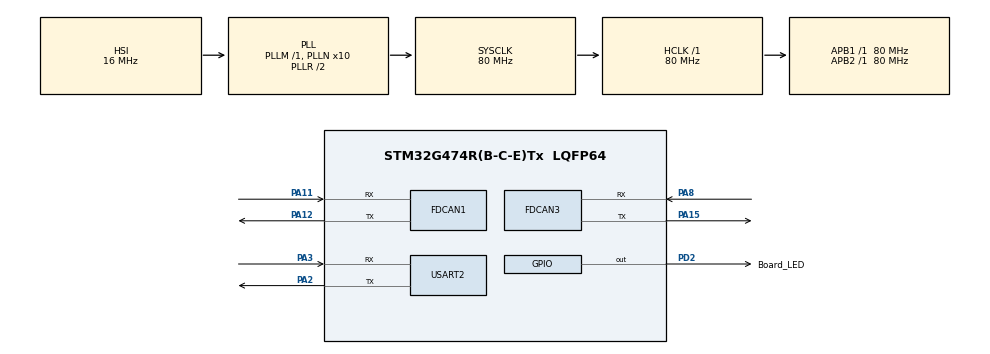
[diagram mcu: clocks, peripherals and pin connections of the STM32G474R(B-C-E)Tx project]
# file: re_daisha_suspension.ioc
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FDCAN1.CalculateBaudRateNominal=1000000
FDCAN1.CalculateTimeBitNominal=1000
FDCAN1.CalculateTimeQuantumNominal=50.0
FDCAN1.DataPrescaler=2
FDCAN1.DataTimeSeg1=15
FDCAN1.DataTimeSeg2=4
FDCAN1.FrameFormat=FDCAN_FRAME_FD_BRS
FDCAN1.NominalPrescaler=4
FDCAN1.NominalTimeSeg1=15
FDCAN1.NominalTimeSeg2=4
FDCAN1.StdFiltersNbr=1
FDCAN3.CalculateBaudRateNominal=1000000
FDCAN3.CalculateTimeBitNominal=1000
FDCAN3.CalculateTimeQuantumNominal=50.0
FDCAN3.DataPrescaler=2
FDCAN3.DataTimeSeg1=15
FDCAN3.DataTimeSeg2=4
FDCAN3.FrameFormat=FDCAN_FRAME_FD_BRS
FDCAN3.NominalPrescaler=4
FDCAN3.NominalTimeSeg1=15
FDCAN3.NominalTimeSeg2=4
FDCAN3.StdFiltersNbr=1
Mcu.Family=STM32G4
Mcu.Name=STM32G474R(B-C-E)Tx
Mcu.Package=LQFP64
NVIC.FDCAN1_IT0_IRQn=true\:0\:0\:false\:false\:true\:true\:true\:true
NVIC.FDCAN1_IT1_IRQn=true\:0\:0\:false\:false\:true\:true\:true\:true
NVIC.FDCAN3_IT0_IRQn=true\:0\:0\:false\:false\:true\:true\:true\:true
NVIC.FDCAN3_IT1_IRQn=true\:0\:0\:false\:false\:true\:true\:true\:true
NVIC.PriorityGroup=NVIC_PRIORITYGROUP_4
NVIC.TIM1_TRG_COM_TIM17_IRQn=true\:0\:0\:false\:false\:true\:true\:true\:true
NVIC.TIM1_UP_TIM16_IRQn=true\:0\:0\:false\:false\:true\:true\:true\:true
NVIC.TIM6_DAC_IRQn=true\:2\:0\:true\:false\:true\:true\:true\:true
NVIC.TIM7_DAC_IRQn=true\:1\:0\:true\:false\:true\:true\:true\:true
NVIC.USART2_IRQn=true\:15\:0\:true\:false\:true\:true\:true\:true
PA11.Mode=FDCAN_Activate
PA11.Signal=FDCAN1_RX
PA12.Mode=FDCAN_Activate
PA12.Signal=FDCAN1_TX
PA15.Mode=FDCAN_Activate
PA15.Signal=FDCAN3_TX
PA2.Mode=Asynchronous
PA2.Signal=USART2_TX
PA3.Mode=Asynchronous
PA3.Signal=USART2_RX
PA8.Mode=FDCAN_Activate
PA8.Signal=FDCAN3_RX
PD2.GPIO_Label=Board_LED
PD2.Signal=GPIO_Output
ProjectManager.HeapSize=0x200
ProjectManager.StackSize=0x400
ProjectManager.TargetToolchain=STM32CubeIDE
RCC.ADC12Freq_Value=80000000
RCC.ADC345Freq_Value=80000000
RCC.AHBFreq_Value=80000000
RCC.APB1Freq_Value=80000000
RCC.APB1TimFreq_Value=80000000
RCC.APB2Freq_Value=80000000
RCC.APB2TimFreq_Value=80000000
RCC.CortexFreq_Value=80000000
RCC.EXTERNAL_CLOCK_VALUE=12288000
RCC.HCLKFreq_Value=80000000
RCC.HSE_VALUE=8000000
RCC.HSI48_VALUE=48000000
RCC.HSI_VALUE=16000000
RCC.LSE_VALUE=32768
RCC.PLLN=10
RCC.SYSCLKFreq_VALUE=80000000
RCC.SYSCLKSource=RCC_SYSCLKSOURCE_PLLCLK
RCC.USBFreq_Value=80000000
RCC.VCOOutputFreq_Value=160000000
TIM16.PeriodNoDither=7999
TIM16.Prescaler=9
TIM17.PeriodNoDither=7999
TIM17.Prescaler=9
TIM6.PeriodNoDither=7999
TIM6.Prescaler=99
TIM7.PeriodNoDither=7999
TIM7.Prescaler=9
USART2.VirtualMode-Asynchronous=VM_ASYNC
VP_SYS_VS_DBSignals.Mode=DisableDeadBatterySignals
VP_TIM16_VS_ClockSourceINT.Mode=Enable_Timer
VP_TIM17_VS_ClockSourceINT.Mode=Enable_Timer
VP_TIM6_VS_ClockSourceINT.Mode=Enable_Timer
VP_TIM7_VS_ClockSourceINT.Mode=Enable_Timer
board=custom

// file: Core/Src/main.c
/* USER CODE BEGIN Header */
/**
  ******************************************************************************
  * @file           : main.c
  * @brief          : Main program body
  ******************************************************************************
  * @attention
  *
  * Copyright (c) 2024 STMicroelectronics.
  * All rights reserved.
  *
  * This software is licensed under terms that can be found in the LICENSE file
  * in the root directory of this software component.
  * If no LICENSE file comes with this software, it is provided AS-IS.
  *
  ******************************************************************************
  */
/* USER CODE END Header */
#include "main.h"

/* USER CODE BEGIN Includes */
#include <stdio.h>
#include <string.h>
#include <math.h>
#include "t_semi_can_lib.h"
/* USER CODE END Includes */

/* USER CODE BEGIN PTD */
typedef struct{
	uint16_t CANID;
	uint8_t motorID;
	volatile float actVel;//rpm
	volatile float actangle;
	volatile float actCurrent;
	float cu;
	float trgVel;
	volatile float p_actVel;//rpm
	volatile float ind;
	float w;
}motor;
/* USER CODE END PTD */

/* USER CODE BEGIN PD */
#define TRUE 1
#define FALSE 0

#define ERROR_STATE -1
#define INITIALIZE_STATE 0
#define MOVE_STATE 1

#define STATE_CANID_P_DOWN 0x100
#define STATE_CANID_P_UP 0x101

#define ID 1

#define STATE_CANID_DOWN STATE_CANID_P_DOWN + (ID*16)
#define STATE_CANID_UP STATE_CANID_P_UP + (ID*16)
#define VEL_CANID 0x300
#define ODOMETRY_CANID_SENSOR 0x200

#define R_F 4
#define L_F 3
#define R_B 1
#define L_B 2
/* USER CODE END PD */

FDCAN_HandleTypeDef hfdcan1;
FDCAN_HandleTypeDef hfdcan3;

TIM_HandleTypeDef htim6;
TIM_HandleTypeDef htim7;
TIM_HandleTypeDef htim16;
TIM_HandleTypeDef htim17;

UART_HandleTypeDef huart2;

/* USER CODE BEGIN PV */
const float a0 = M_PI/180*45;
const float a1 = M_PI/180*135;
const float a2 = M_PI/180*225;
const float a3 = M_PI/180*315;
const float r = 0.03;//m
const float R = 0.144;//m

FDCAN_TxHeaderTypeDef TxHeader;
FDCAN_RxHeaderTypeDef RxHeader;
FDCAN_TxHeaderTypeDef TxHeader_motor;
FDCAN_RxHeaderTypeDef RxHeader_motor;

int8_t state = ERROR_STATE;
int8_t sub_state;

float32_t RxData_f32[16] = {};
uint32_t CANID_R = 0;

motor robomas[4] = {
		{0x201, 1, 0, 0, 0, 0, 0, 0, 0, 0},
		{0x202, 2, 0, 0, 0, 0, 0, 0, 0, 0},
		{0x203, 3, 0, 0, 0, 0, 0, 0, 0, 0},
		{0x204, 4, 0, 0, 0, 0, 0, 0, 0, 0},
};

float theta = 0;
float vx = 0, vy = 0, omega = 0;

volatile float theta_r = 0;
volatile float vx_r = 0, vy_r = 0, omega_r = 0;
/* USER CODE END PV */

void SystemClock_Config(void);
static void MX_GPIO_Init(void);
static void MX_FDCAN1_Init(void);
static void MX_USART2_UART_Init(void);
static void MX_TIM6_Init(void);
static void MX_TIM7_Init(void);
static void MX_TIM16_Init(void);
static void MX_FDCAN3_Init(void);
static void MX_TIM17_Init(void);
/* USER CODE BEGIN PFP */
void CAN_SEND_printf(uint32_t, uint8_t*);
void CAN(uint32_t, float32_t*);
void CAN_SEND_printf_robomas(uint32_t, uint8_t*);
void CAN_robomas(motor*);
void interboard_comms_CAN_RxTxSettings_nhk2025_init(void);
void robomas_CAN_RxTxSettings_nhk2025_init(void);

void omni_calc(float theta,float vx,float vy,float omega,float *w0,float *w1,float *w2,float *w3);
float convert_rpm_radps(float rpm);
float convert_radps_rpm(float radps) ;
void omni_control(float Theta, float Vx, float Vy, float Omega, motor *Robomas);
/* USER CODE END PFP */

/* USER CODE BEGIN 0 */
void HAL_FDCAN_RxFifo0Callback(FDCAN_HandleTypeDef *hfdcan, uint32_t RxFifo0ITs){
	if ((RxFifo0ITs & FDCAN_IT_RX_FIFO0_NEW_MESSAGE) != RESET) {

	        /* Retrieve Rx messages from RX FIFO0 */
		uint8_t RxData_motor[8] = {};
		if (HAL_OK != HAL_FDCAN_GetRxMessage(&hfdcan3, FDCAN_RX_FIFO0, &RxHeader_motor, RxData_motor)) {
			printf("fdcan_getrxmessage_motor is error\r\n");
			Error_Handler();
		}
		/*receive robomas's status*/
		for (int i=0; i < 4; i++){
			if (RxHeader_motor.Identifier == (robomas[i].CANID)) {
				robomas[i].actangle = (int16_t)((RxData_motor[0] << 8) | RxData_motor[1]);
				robomas[i].actVel = (int16_t)((RxData_motor[2] << 8) | RxData_motor[3]);
				robomas[i].actCurrent = (int16_t)((RxData_motor[4] << 8) | RxData_motor[5]);
			}
		}
	}
}

void HAL_FDCAN_RxFifo1Callback(FDCAN_HandleTypeDef *hfdcan, uint32_t RxFifo1ITs){
	if (RESET != (RxFifo1ITs & FDCAN_IT_RX_FIFO1_NEW_MESSAGE)) {

	        /* Retrieve Rx messages from RX FIFO0 */
		uint8_t RxData[64] = {};
		if (HAL_OK != HAL_FDCAN_GetRxMessage(&hfdcan1, FDCAN_RX_FIFO1, &RxHeader, RxData)) {
			printf("fdcan_getrxmessage is error\r\n");
			Error_Handler();
		}

		for (int i = 0; i < 16; i++) {
			convert_u8_f32(RxData, RxData_f32);
		}
		CANID_R = RxHeader.Identifier;
	}
}

void HAL_TIM_PeriodElapsedCallback(TIM_HandleTypeDef *htim){
	if (&htim6 == htim) {
		float32_t TxData_f32[16] = {};
		TxData_f32[0] = (float32_t)state;
		TxData_f32[1] = (float32_t)sub_state;
		CAN(STATE_CANID_UP, TxData_f32);
	}
	else if (&htim7 == htim) {
		if (STATE_CANID_DOWN == CANID_R) {
			if (INITIALIZE_STATE == RxData_f32[0]) {
				state = RxData_f32[0];
			}
			else if (ERROR_STATE == RxData_f32[0]) {
				state = RxData_f32[0];
			}
			else if (VEL_CANID == CANID_R) {
				vx_r 	= RxData_f32[0];
				vy_r 	= RxData_f32[1];
				omega_r = RxData_f32[2];
			}
			else if (ODOMETRY_CANID_SENSOR == CANID_R) {
				theta_r = RxData_f32[2];
			}
		}
	}
	else if (&htim16 == htim) {
		for (int i = 0; i < 4; i++) {
			float kp = 10, kd = 0.009, ki = 0.2;
			float dt = 0.001;
			float hensa = robomas[i].trgVel - robomas[i].actVel;
			float derivative = (robomas[i].p_actVel - robomas[i].actVel)/dt;
			robomas[i].ind += hensa;
			robomas[i].cu = kp*hensa + kd*derivative + ki*robomas[i].ind;
			robomas[i].p_actVel = robomas[i].actVel;

			if (robomas[i].cu > 10000) robomas[i].cu = 10000;
			if (robomas[i].cu < -10000) robomas[i].cu = -10000;
			if (ERROR_STATE == state) robomas[i].cu = 0;
		}
		CAN_robomas(robomas);
	}
	else if (&htim17 == htim) {

	}
}

int _write(int file, char *ptr, int len)
{
    HAL_UART_Transmit(&huart2,(uint8_t *)ptr,len,10);
    return len;
}
/* USER CODE END 0 */

int main(void)
{

  /* USER CODE BEGIN 1 */
	setbuf(stdout, NULL);

  /* USER CODE END 1 */

  /* MCU Configuration--------------------------------------------------------*/

  /* Reset of all peripherals, Initializes the Flash interface and the Systick. */
  HAL_Init();

  /* Configure the system clock */
  SystemClock_Config();

  /* Initialize all configured peripherals */
  MX_GPIO_Init();
  MX_FDCAN1_Init();
  MX_USART2_UART_Init();
  MX_TIM6_Init();
  MX_TIM7_Init();
  MX_TIM16_Init();
  MX_FDCAN3_Init();
  MX_TIM17_Init();
  /* USER CODE BEGIN 2 */
  printf("start\r\n");
  //FDCAN_RxTxSettings();
  interboard_comms_CAN_RxTxSettings_nhk2025_init();
  robomas_CAN_RxTxSettings_nhk2025_init();
  printf("can start\r\n");

  HAL_TIM_Base_Start_IT(&htim6);
  HAL_TIM_Base_Start_IT(&htim7);
  HAL_TIM_Base_Start_IT(&htim16);
  HAL_TIM_Base_Start_IT(&htim17);
  /* USER CODE END 2 */

  /* Infinite loop */
  /* USER CODE BEGIN WHILE */
  while (1)
  {
	  if (ERROR_STATE == state) {
		  vx = 0;
		  vy = 0;
		  omega = 0;
	  }
	  else if (INITIALIZE_STATE == state) {
		  for (int i = 0; i < 4; i++) robomas[i].ind = 0;
		  state = MOVE_STATE;
	  }
	  else if (MOVE_STATE == state) {
		  vx 	= vx_r;
		  vy 	= vy_r;
		  omega = omega_r;
		  theta = theta_r;
		  omni_control(theta, vx, vy, omega, robomas);
	  }
	  HAL_Delay(10);
    /* USER CODE END WHILE */

  }
}

void SystemClock_Config(void)
{
  RCC_OscInitTypeDef RCC_OscInitStruct = {0};
  RCC_ClkInitTypeDef RCC_ClkInitStruct = {0};

  /** Configure the main internal regulator output voltage
  */
  HAL_PWREx_ControlVoltageScaling(PWR_REGULATOR_VOLTAGE_SCALE1);

  /** Initializes the RCC Oscillators according to the specified parameters
  * in the RCC_OscInitTypeDef structure.
  */
  RCC_OscInitStruct.OscillatorType = RCC_OSCILLATORTYPE_HSI;
  RCC_OscInitStruct.HSIState = RCC_HSI_ON;
  RCC_OscInitStruct.HSICalibrationValue = RCC_HSICALIBRATION_DEFAULT;
  RCC_OscInitStruct.PLL.PLLState = RCC_PLL_ON;
  RCC_OscInitStruct.PLL.PLLSource = RCC_PLLSOURCE_HSI;
  RCC_OscInitStruct.PLL.PLLM = RCC_PLLM_DIV1;
  RCC_OscInitStruct.PLL.PLLN = 10;
  RCC_OscInitStruct.PLL.PLLP = RCC_PLLP_DIV2;
  RCC_OscInitStruct.PLL.PLLQ = RCC_PLLQ_DIV2;
  RCC_OscInitStruct.PLL.PLLR = RCC_PLLR_DIV2;
  if (HAL_RCC_OscConfig(&RCC_OscInitStruct) != HAL_OK)
  {
    Error_Handler();
  }

  /** Initializes the CPU, AHB and APB buses clocks
  */
  RCC_ClkInitStruct.ClockType = RCC_CLOCKTYPE_HCLK|RCC_CLOCKTYPE_SYSCLK
                              |RCC_CLOCKTYPE_PCLK1|RCC_CLOCKTYPE_PCLK2;
  RCC_ClkInitStruct.SYSCLKSource = RCC_SYSCLKSOURCE_PLLCLK;
  RCC_ClkInitStruct.AHBCLKDivider = RCC_SYSCLK_DIV1;
  RCC_ClkInitStruct.APB1CLKDivider = RCC_HCLK_DIV1;
  RCC_ClkInitStruct.APB2CLKDivider = RCC_HCLK_DIV1;

  if (HAL_RCC_ClockConfig(&RCC_ClkInitStruct, FLASH_LATENCY_2) != HAL_OK)
  {
    Error_Handler();
  }
}

static void MX_FDCAN1_Init(void)
{

  hfdcan1.Instance = FDCAN1;
  hfdcan1.Init.ClockDivider = FDCAN_CLOCK_DIV1;
  hfdcan1.Init.FrameFormat = FDCAN_FRAME_FD_BRS;
  hfdcan1.Init.Mode = FDCAN_MODE_NORMAL;
  hfdcan1.Init.AutoRetransmission = DISABLE;
  hfdcan1.Init.TransmitPause = DISABLE;
  hfdcan1.Init.ProtocolException = DISABLE;
  hfdcan1.Init.NominalPrescaler = 4;
  hfdcan1.Init.NominalSyncJumpWidth = 1;
  hfdcan1.Init.NominalTimeSeg1 = 15;
  hfdcan1.Init.NominalTimeSeg2 = 4;
  hfdcan1.Init.DataPrescaler = 2;
  hfdcan1.Init.DataSyncJumpWidth = 1;
  hfdcan1.Init.DataTimeSeg1 = 15;
  hfdcan1.Init.DataTimeSeg2 = 4;
  hfdcan1.Init.StdFiltersNbr = 1;
  hfdcan1.Init.ExtFiltersNbr = 0;
  hfdcan1.Init.TxFifoQueueMode = FDCAN_TX_FIFO_OPERATION;
  if (HAL_FDCAN_Init(&hfdcan1) != HAL_OK)
  {
    Error_Handler();
  }

}

static void MX_FDCAN3_Init(void)
{

  hfdcan3.Instance = FDCAN3;
  hfdcan3.Init.ClockDivider = FDCAN_CLOCK_DIV1;
  hfdcan3.Init.FrameFormat = FDCAN_FRAME_FD_BRS;
  hfdcan3.Init.Mode = FDCAN_MODE_NORMAL;
  hfdcan3.Init.AutoRetransmission = DISABLE;
  hfdcan3.Init.TransmitPause = DISABLE;
  hfdcan3.Init.ProtocolException = DISABLE;
  hfdcan3.Init.NominalPrescaler = 4;
  hfdcan3.Init.NominalSyncJumpWidth = 1;
  hfdcan3.Init.NominalTimeSeg1 = 15;
  hfdcan3.Init.NominalTimeSeg2 = 4;
  hfdcan3.Init.DataPrescaler = 2;
  hfdcan3.Init.DataSyncJumpWidth = 1;
  hfdcan3.Init.DataTimeSeg1 = 15;
  hfdcan3.Init.DataTimeSeg2 = 4;
  hfdcan3.Init.StdFiltersNbr = 1;
  hfdcan3.Init.ExtFiltersNbr = 0;
  hfdcan3.Init.TxFifoQueueMode = FDCAN_TX_FIFO_OPERATION;
  if (HAL_FDCAN_Init(&hfdcan3) != HAL_OK)
  {
    Error_Handler();
  }

}

static void MX_TIM6_Init(void)
{

  TIM_MasterConfigTypeDef sMasterConfig = {0};

  htim6.Instance = TIM6;
  htim6.Init.Prescaler = 99;
  htim6.Init.CounterMode = TIM_COUNTERMODE_UP;
  htim6.Init.Period = 7999;
  htim6.Init.AutoReloadPreload = TIM_AUTORELOAD_PRELOAD_DISABLE;
  if (HAL_TIM_Base_Init(&htim6) != HAL_OK)
  {
    Error_Handler();
  }
  sMasterConfig.MasterOutputTrigger = TIM_TRGO_RESET;
  sMasterConfig.MasterSlaveMode = TIM_MASTERSLAVEMODE_DISABLE;
  if (HAL_TIMEx_MasterConfigSynchronization(&htim6, &sMasterConfig) != HAL_OK)
  {
    Error_Handler();
  }

}

static void MX_TIM7_Init(void)
{

  TIM_MasterConfigTypeDef sMasterConfig = {0};

  htim7.Instance = TIM7;
  htim7.Init.Prescaler = 9;
  htim7.Init.CounterMode = TIM_COUNTERMODE_UP;
  htim7.Init.Period = 7999;
  htim7.Init.AutoReloadPreload = TIM_AUTORELOAD_PRELOAD_DISABLE;
  if (HAL_TIM_Base_Init(&htim7) != HAL_OK)
  {
    Error_Handler();
  }
  sMasterConfig.MasterOutputTrigger = TIM_TRGO_RESET;
  sMasterConfig.MasterSlaveMode = TIM_MASTERSLAVEMODE_DISABLE;
  if (HAL_TIMEx_MasterConfigSynchronization(&htim7, &sMasterConfig) != HAL_OK)
  {
    Error_Handler();
  }

}

static void MX_TIM16_Init(void)
{

  htim16.Instance = TIM16;
  htim16.Init.Prescaler = 9;
  htim16.Init.CounterMode = TIM_COUNTERMODE_UP;
  htim16.Init.Period = 7999;
  htim16.Init.ClockDivision = TIM_CLOCKDIVISION_DIV1;
  htim16.Init.RepetitionCounter = 0;
  htim16.Init.AutoReloadPreload = TIM_AUTORELOAD_PRELOAD_DISABLE;
  if (HAL_TIM_Base_Init(&htim16) != HAL_OK)
  {
    Error_Handler();
  }

}

static void MX_TIM17_Init(void)
{

  htim17.Instance = TIM17;
  htim17.Init.Prescaler = 9;
  htim17.Init.CounterMode = TIM_COUNTERMODE_UP;
  htim17.Init.Period = 7999;
  htim17.Init.ClockDivision = TIM_CLOCKDIVISION_DIV1;
  htim17.Init.RepetitionCounter = 0;
  htim17.Init.AutoReloadPreload = TIM_AUTORELOAD_PRELOAD_DISABLE;
  if (HAL_TIM_Base_Init(&htim17) != HAL_OK)
  {
    Error_Handler();
  }

}

static void MX_USART2_UART_Init(void)
{

  huart2.Instance = USART2;
  huart2.Init.BaudRate = 115200;
  huart2.Init.WordLength = UART_WORDLENGTH_8B;
  huart2.Init.StopBits = UART_STOPBITS_1;
  huart2.Init.Parity = UART_PARITY_NONE;
  huart2.Init.Mode = UART_MODE_TX_RX;
  huart2.Init.HwFlowCtl = UART_HWCONTROL_NONE;
  huart2.Init.OverSampling = UART_OVERSAMPLING_16;
  huart2.Init.OneBitSampling = UART_ONE_BIT_SAMPLE_DISABLE;
  huart2.Init.ClockPrescaler = UART_PRESCALER_DIV1;
  huart2.AdvancedInit.AdvFeatureInit = UART_ADVFEATURE_NO_INIT;
  if (HAL_UART_Init(&huart2) != HAL_OK)
  {
    Error_Handler();
  }
  if (HAL_UARTEx_SetTxFifoThreshold(&huart2, UART_TXFIFO_THRESHOLD_1_8) != HAL_OK)
  {
    Error_Handler();
  }
  if (HAL_UARTEx_SetRxFifoThreshold(&huart2, UART_RXFIFO_THRESHOLD_1_8) != HAL_OK)
  {
    Error_Handler();
  }
  if (HAL_UARTEx_DisableFifoMode(&huart2) != HAL_OK)
  {
    Error_Handler();
  }

}

static void MX_GPIO_Init(void)
{
  GPIO_InitTypeDef GPIO_InitStruct = {0};

  /* GPIO Ports Clock Enable */
  __HAL_RCC_GPIOA_CLK_ENABLE();
  __HAL_RCC_GPIOD_CLK_ENABLE();

  /*Configure GPIO pin Output Level */
  HAL_GPIO_WritePin(Board_LED_GPIO_Port, Board_LED_Pin, GPIO_PIN_RESET);

  /*Configure GPIO pin : Board_LED_Pin */
  GPIO_InitStruct.Pin = Board_LED_Pin;
  GPIO_InitStruct.Mode = GPIO_MODE_OUTPUT_PP;
  GPIO_InitStruct.Pull = GPIO_NOPULL;
  GPIO_InitStruct.Speed = GPIO_SPEED_FREQ_LOW;
  HAL_GPIO_Init(Board_LED_GPIO_Port, &GPIO_InitStruct);

}

/* USER CODE BEGIN 4 */
void CAN_SEND_printf(uint32_t CANID, uint8_t *txdata) {
	if(CAN_SEND(CANID, txdata, &hfdcan1, &TxHeader) < 0) {
		printf("can_addmessage error\r\n");
		Error_Handler();
	}
}

void CAN(uint32_t CANID, float32_t *txdata_f32) {
	uint8_t txdata[64] = {};
	convert_f32_u8(txdata_f32, txdata);
	CAN_SEND_printf(CANID, txdata);
}

void CAN_SEND_printf_robomas(uint32_t CANID, uint8_t *txdata) {
	if (CAN_SEND(CANID, txdata, &hfdcan3, &TxHeader_motor) < 0) {
		printf("addmessage errror robomas\r\n");
		Error_Handler();
	}
}

void CAN_robomas(motor *Robomas) {
	uint8_t TxData_motor_0x200[8];
	//uint8_t TxData_motor_0x1ff[8];
	for (int i = 0; i < 4; i++) {
		TxData_motor_0x200[i*2] = ((int16_t)Robomas[i].cu) >> 8;
		TxData_motor_0x200[i*2+1] = (uint8_t)(((int16_t)Robomas[i].cu) & 0xff);
		//TxData_motor_0x1ff[i*2] = (Robomas[i+4].cu) >> 8;
		//TxData_motor_0x1ff[i*2+1] = (uint8_t)((Robomas[i+4].cu) & 0xff);
	}
	CAN_SEND_printf_robomas(0x200, TxData_motor_0x200);
	//CAN_SEND_printf_robomas(0x1ff, TxData_motor_0x1ff);
}

void interboard_comms_CAN_RxTxSettings_nhk2025_init(void) {
	  FDCAN_FilterTypeDef FDCAN_Filter_settings;
	  int return_value = interboard_comms_CAN_RxTxSettings_nhk2025(&hfdcan1, &FDCAN_Filter_settings, &TxHeader);
	  switch (return_value) {
	  	  case -1:
	  		  printf("fdcan_configfilter is error\r\n");
	  		  break;
	  	  case -2:
	  		  printf("fdcan_configglobalfilter is error\r\n");
	  		  break;
	  	  case -3:
	  		  printf("fdcan_start is error\r\n");
	  		  break;
	  	  case -4:
	  		  printf("fdcan_activatenotification is error\r\n");
	  		  break;
	  }
	  if (return_value < 0) Error_Handler();
	  printf("can_init success\r\n");
}

void robomas_CAN_RxTxSettings_nhk2025_init(void) {
	FDCAN_FilterTypeDef FDCAN_Filter_settings;
	int return_value = robomas_CAN_RxTxSettings_nhk2025(&hfdcan3, &FDCAN_Filter_settings, &TxHeader_motor);
	switch (return_value) {
	  case -1:
		  printf("fdcan_configfilter is error\r\n");
		  break;
	  case -2:
		  printf("fdcan_configglobalfilter is error\r\n");
		  break;
	  case -3:
		  printf("fdcan_start is error\r\n");
		  break;
	  case -4:
		  printf("fdcan_activatenotification is error\r\n");
		  break;
	}
}

void omni_calc(float theta,float vx,float vy,float omega,float *w0,float *w1,float *w2,float *w3){

	float v[3] = {vx, vy, omega};
	float sint = sin(theta);
	float cost = cos(theta);

	float arr[4][3] =
	{{-cos(a0)*sint-sin(a0)*cost, cos(a0)*cost-sin(a0)*sint, R},
	{-cos(a1)*sint-sin(a1)*cost, cos(a1)*cost-sin(a1)*sint, R},
	{-cos(a2)*sint-sin(a2)*cost, cos(a2)*cost-sin(a2)*sint, R},
	{-cos(a3)*sint-sin(a3)*cost, cos(a3)*cost-sin(a3)*sint, R}};

	*w0 = (arr[0][0] * v[0] + arr[0][1] * v[1] + arr[0][2] * v[2]) / r;
	*w1 = (arr[1][0] * v[0] + arr[1][1] * v[1] + arr[1][2] * v[2]) / r;
	*w2 = (arr[2][0] * v[0] + arr[2][1] * v[1] + arr[2][2] * v[2]) / r;
	*w3 = (arr[3][0] * v[0] + arr[3][1] * v[1] + arr[3][2] * v[2]) / r;
}

float convert_rpm_radps(float rpm) {
	float radps = rpm/60*2*M_PI;
	return radps;
}

float convert_radps_rpm(float radps) {
	float rpm = radps*60/2/M_PI;
	return rpm;
}

void omni_control(float Theta, float Vx, float Vy, float Omega, motor *Robomas) {
	omni_calc(Theta ,Vx, Vy, Omega, &Robomas[R_F-1].w, &Robomas[L_F-1].w, &Robomas[L_B-1].w, &Robomas[R_B-1].w);
	for (int i = 0; i < 4; i++) Robomas[i].trgVel = convert_radps_rpm(Robomas[i].w)*36*(-1);
}
/* USER CODE END 4 */

void Error_Handler(void)
{
  __disable_irq();
  while (1)
  {
  }
}
